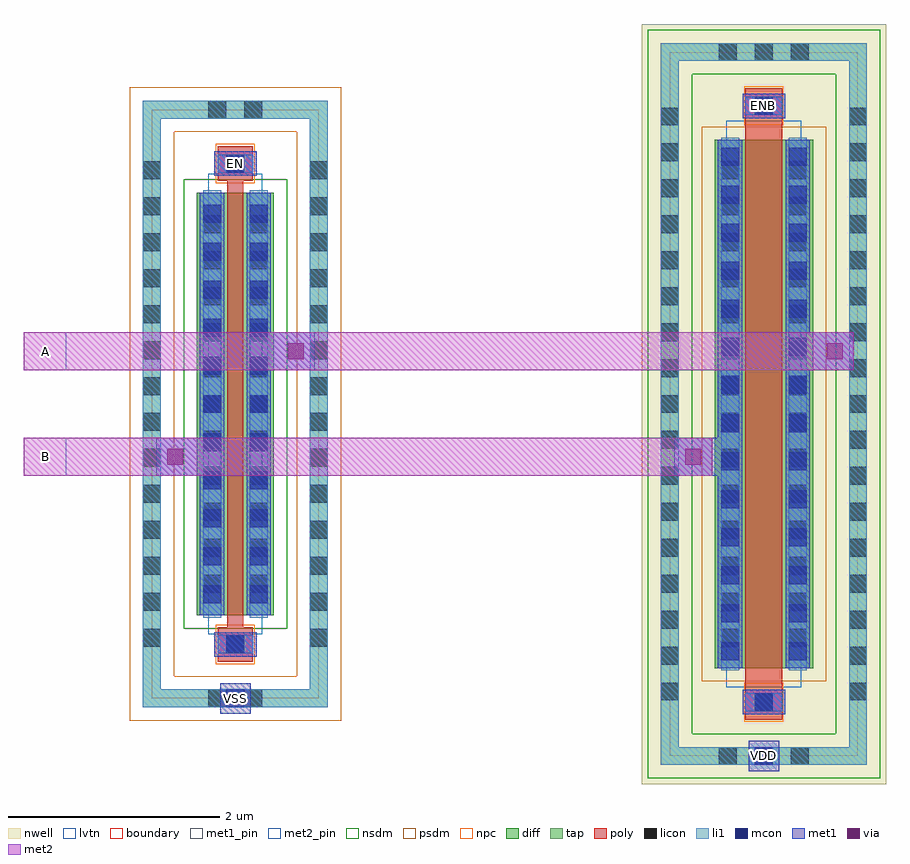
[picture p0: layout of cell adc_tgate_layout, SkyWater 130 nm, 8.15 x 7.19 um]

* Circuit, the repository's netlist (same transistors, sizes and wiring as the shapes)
* NGSPICE file created from adc_tgate_layout.ext - technology: sky130A

.subckt tg_nfet_lvt B D S G
X0 S G D B sky130_fd_pr__nfet_01v8_lvt ad=1.16 pd=8.58 as=1.16 ps=8.58 w=4 l=0.15
.ends

.subckt tg_pfet_lvt B D S G
X0 S G D B sky130_fd_pr__pfet_01v8_lvt ad=1.45 pd=10.58 as=1.45 ps=10.58 w=5 l=0.35
.ends

.subckt adc_tgate_layout A B EN ENB VDD VSS
XXN VSS B A EN tg_nfet_lvt
XXP VDD B A ENB tg_pfet_lvt
.ends

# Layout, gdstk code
import gdstk
lib = gdstk.Library(unit=1e-6, precision=1e-09)
def R(c, l, rs):  # rectangles x0, y0, x1, y1
    for r in rs: c.add(gdstk.rectangle(r[:2], r[2:], *l))
def A(c, l, x, y, w, h, nx, ny, dx, dy):  # array of equal rectangles
    R(c, l, [(x+i*dx, y+j*dy, x+i*dx+w, y+j*dy+h) for i in range(nx) for j in range(ny)])
nwell = (64, 20)
diff = (65, 20)
tap = (65, 44)
poly = (66, 20)
licon = (66, 44)
li1 = (67, 20)
mcon = (67, 44)
met1_pin = (68, 16)
met1 = (68, 20)
via = (68, 44)
met2_pin = (69, 16)
met2 = (69, 20)
nsdm = (93, 44)
psdm = (94, 20)
npc = (95, 20)
lvtn = (125, 44)
boundary = (235, 4)

tg_pfet_lvt = lib.new_cell('tg_pfet_lvt')
R(tg_pfet_lvt, nwell, [(-1.155,-3.595,1.155,3.595)])
R(tg_pfet_lvt, diff, [(-0.465,-2.5,0.465,2.5)])
R(tg_pfet_lvt, tap, [(-0.975,-3.415,0.975,-3.245), (-0.975,-3.245,-0.805,3.245), (0.805,-3.245,0.975,3.245), (-0.975,3.245,0.975,3.415)])
R(tg_pfet_lvt, poly, [(-0.175,-2.985,0.175,2.985)])
A(tg_pfet_lvt, licon, -0.425, -3.415, 0.17, 0.17, 3, 2, 0.34, 6.66)
A(tg_pfet_lvt, licon, -0.975, -2.805, 0.17, 0.17, 1, 17, 0, 0.34)
A(tg_pfet_lvt, licon, 0.805, -2.805, 0.17, 0.17, 1, 17, 0, 0.34)
A(tg_pfet_lvt, licon, -0.405, -2.295, 0.17, 0.17, 1, 14, 0, 0.34)
A(tg_pfet_lvt, licon, 0.235, -2.295, 0.17, 0.17, 1, 14, 0, 0.34)
R(tg_pfet_lvt, licon, [(-0.085,-2.905,0.085,-2.735), (-0.085,2.735,0.085,2.905)])
R(tg_pfet_lvt, li1, [(-0.975,-3.415,0.975,-3.245), (-0.975,-3.245,-0.805,3.245), (0.805,-3.245,0.975,3.245), (-0.175,-2.905,0.175,-2.735), (-0.405,-2.52,-0.235,2.52), (0.235,-2.52,0.405,2.52), (-0.175,2.735,0.175,2.905), (-0.975,3.245,0.975,3.415)])
A(tg_pfet_lvt, mcon, -0.405, -2.425, 0.17, 0.17, 1, 14, 0, 0.36)
A(tg_pfet_lvt, mcon, 0.235, -2.425, 0.17, 0.17, 1, 14, 0, 0.36)
R(tg_pfet_lvt, mcon, [(-0.085,-2.905,0.085,-2.735), (-0.085,2.735,0.085,2.905)])
R(tg_pfet_lvt, met1, [(-0.155,-2.935,0.155,-2.705), (-0.435,-2.5,-0.205,2.5), (0.205,-2.5,0.435,2.5), (-0.155,2.705,0.155,2.935)])
R(tg_pfet_lvt, nsdm, [(-1.1,-3.54,1.1,-3.12), (-1.1,-3.12,-0.68,3.12), (0.68,-3.12,1.1,3.12), (-1.1,3.12,1.1,3.54)])
R(tg_pfet_lvt, psdm, [(-0.59,-2.625,0.59,2.625)])
R(tg_pfet_lvt, npc, [(-0.185,-3.005,0.185,-2.635), (-0.185,2.635,0.185,3.005)])
R(tg_pfet_lvt, lvtn, [(-0.355,-2.68,0.355,2.68)])
R(tg_pfet_lvt, boundary, [(-0.89,-3.33,0.89,3.33)])
tg_pfet_lvt.add(gdstk.Label('B', (0,-3.33), layer=67, texttype=5))
tg_pfet_lvt.add(gdstk.Label('D', (-0.32,0), layer=67, texttype=5))
tg_pfet_lvt.add(gdstk.Label('S', (0.32,0), layer=67, texttype=5))
tg_pfet_lvt.add(gdstk.Label('G', (0,2.82), layer=67, texttype=5))

tg_nfet_lvt = lib.new_cell('tg_nfet_lvt')
R(tg_nfet_lvt, diff, [(-0.365,-2,0.365,2)])
R(tg_nfet_lvt, tap, [(-0.875,-2.87,0.875,-2.7), (-0.875,-2.7,-0.705,2.7), (0.705,-2.7,0.875,2.7), (-0.875,2.7,0.875,2.87)])
R(tg_nfet_lvt, poly, [(-0.165,-2.44,0.165,-2.11), (-0.075,-2.11,0.075,2.11), (-0.165,2.11,0.165,2.44)])
A(tg_nfet_lvt, licon, -0.875, -2.295, 0.17, 0.17, 1, 14, 0, 0.34)
A(tg_nfet_lvt, licon, 0.705, -2.295, 0.17, 0.17, 1, 14, 0, 0.34)
A(tg_nfet_lvt, licon, -0.305, -1.785, 0.17, 0.17, 1, 11, 0, 0.34)
A(tg_nfet_lvt, licon, 0.135, -1.785, 0.17, 0.17, 1, 11, 0, 0.34)
R(tg_nfet_lvt, licon, [(-0.255,-2.87,-0.085,-2.7), (0.085,-2.87,0.255,-2.7), (-0.085,-2.36,0.085,-2.19), (-0.085,2.19,0.085,2.36), (-0.255,2.7,-0.085,2.87), (0.085,2.7,0.255,2.87)])
R(tg_nfet_lvt, li1, [(-0.875,-2.87,0.875,-2.7), (-0.875,-2.7,-0.705,2.7), (0.705,-2.7,0.875,2.7), (-0.165,-2.36,0.165,-2.19), (-0.305,-2.02,-0.135,2.02), (0.135,-2.02,0.305,2.02), (-0.165,2.19,0.165,2.36), (-0.875,2.7,0.875,2.87)])
A(tg_nfet_lvt, mcon, -0.305, -1.885, 0.17, 0.17, 1, 11, 0, 0.36)
A(tg_nfet_lvt, mcon, 0.135, -1.885, 0.17, 0.17, 1, 11, 0, 0.36)
R(tg_nfet_lvt, mcon, [(-0.085,-2.36,0.085,-2.19), (-0.085,2.19,0.085,2.36)])
R(tg_nfet_lvt, met1, [(-0.145,-2.39,0.145,-2.16), (-0.335,-2,-0.105,2), (0.105,-2,0.335,2), (-0.145,2.16,0.145,2.39)])
R(tg_nfet_lvt, nsdm, [(-0.49,-2.125,0.49,2.125)])
R(tg_nfet_lvt, psdm, [(-1,-2.995,1,-2.575), (-1,-2.575,-0.58,2.575), (0.58,-2.575,1,2.575), (-1,2.575,1,2.995)])
R(tg_nfet_lvt, npc, [(-0.185,-2.46,0.185,-2.09), (-0.185,2.09,0.185,2.46)])
R(tg_nfet_lvt, lvtn, [(-0.255,-2.18,0.255,2.18)])
R(tg_nfet_lvt, boundary, [(-0.79,-2.785,0.79,2.785)])
tg_nfet_lvt.add(gdstk.Label('B', (0,-2.785), layer=67, texttype=5))
tg_nfet_lvt.add(gdstk.Label('D', (-0.22,0), layer=67, texttype=5))
tg_nfet_lvt.add(gdstk.Label('S', (0.22,0), layer=67, texttype=5))
tg_nfet_lvt.add(gdstk.Label('G', (0,2.275), layer=67, texttype=5))

adc_tgate_layout = lib.new_cell('adc_tgate_layout')
R(adc_tgate_layout, li1, [(8.915,2.585,9.085,2.755), (3.915,3.13,4.085,3.3)])
R(adc_tgate_layout, mcon, [(8.915,2.585,9.085,2.755), (3.915,3.13,4.085,3.3)])
R(adc_tgate_layout, met1_pin, [(8.855,2.525,9.145,2.815), (3.855,3.07,4.145,3.36), (3.8,8.16,4.2,8.39), (8.8,8.705,9.2,8.935)])
R(adc_tgate_layout, met1, [(8.855,2.525,9.145,2.815), (8.8,3.065,9.2,3.295), (3.855,3.07,4.145,3.36), (3.8,3.61,4.2,3.84), (3.25,5.32,3.88,5.68), (8.15,5.32,8.78,5.68), (4.12,6.32,4.75,6.68), (9.22,6.32,9.85,6.68), (3.8,8.16,4.2,8.39), (8.8,8.705,9.2,8.935)])
R(adc_tgate_layout, via, [(3.355,5.425,3.505,5.575), (8.255,5.425,8.405,5.575), (4.495,6.425,4.645,6.575), (9.595,6.425,9.745,6.575)])
R(adc_tgate_layout, met2_pin, [(2,5.32,2.4,5.68), (2,6.32,2.4,6.68)])
R(adc_tgate_layout, met2, [(2,5.32,8.51,5.68), (2,6.32,9.85,6.68)])
adc_tgate_layout.add(gdstk.Reference(tg_pfet_lvt, (9,6)))
adc_tgate_layout.add(gdstk.Reference(tg_nfet_lvt, (4,6)))
adc_tgate_layout.add(gdstk.Label('A', (2.2,6.5), layer=69, texttype=5))
adc_tgate_layout.add(gdstk.Label('B', (2.2,5.5), layer=69, texttype=5))
adc_tgate_layout.add(gdstk.Label('EN', (4,8.275), layer=68, texttype=5))
adc_tgate_layout.add(gdstk.Label('ENB', (9,8.82), layer=68, texttype=5))
adc_tgate_layout.add(gdstk.Label('VDD', (9,2.67), layer=68, texttype=5))
adc_tgate_layout.add(gdstk.Label('VSS', (4,3.215), layer=68, texttype=5))

lib.write_gds('adc_tgate_layout.gds')
